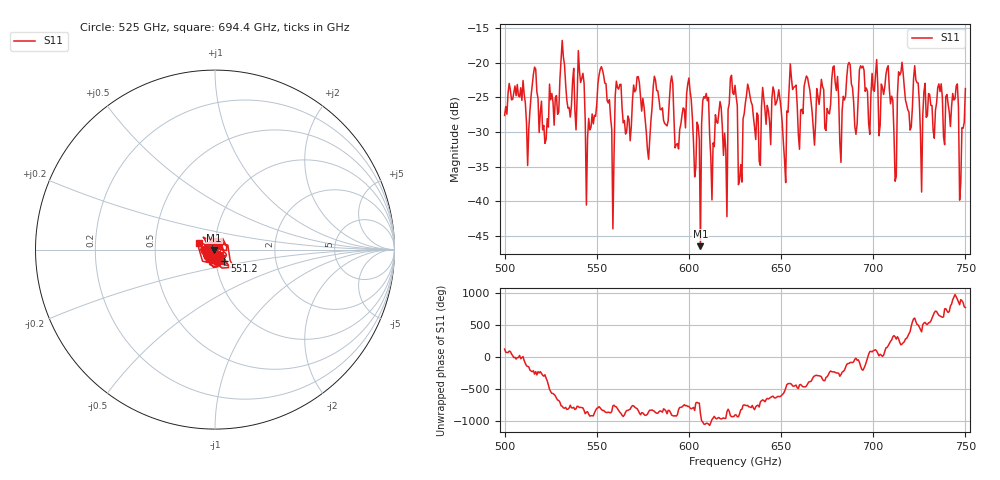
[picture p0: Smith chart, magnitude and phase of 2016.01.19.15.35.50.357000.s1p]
!Created with skrf (http://scikit-rf.org).
# GHz S RI R 50.0
!freq ReS11 ImS11
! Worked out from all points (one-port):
!   401 points, 500 GHz to 750 GHz, reference 50 ohm
!   lowest |S11| = -46.5 dB at 606.2 GHz (marker M1), VSWR 1.01, Z = 49.6 - j0.174 ohm
!   |S11| at or under -10 dB: start of sweep to end of sweep
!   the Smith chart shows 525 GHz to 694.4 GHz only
!   S11 on the Smith chart (normalised r, x): 525 GHz: 0.90, -0.01; 551.2 GHz: 1.10, -0.14; 694.4 GHz: 0.84, +0.06
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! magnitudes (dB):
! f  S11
! 500 GHz  -27.6
! 525 GHz  -25.4
! 531.2 GHz  -16.8
! 541.2 GHz  -22.9
! 545.6 GHz  -28.0
! 551.2 GHz  -21.8
! 558.1 GHz  -29.6
! 562.5 GHz  -23.1
! 578.1 GHz  -33.9
! 590.6 GHz  -21.9
! 593.8 GHz  -31.7
! 600 GHz  -22.2
! 606.2 GHz  -46.5
! 609.4 GHz  -24.4
! 619.4 GHz  -30.2
! 625 GHz  -23.3
! 628.1 GHz  -34.7
! 631.9 GHz  -23.1
! 651.9 GHz  -34.0
! 656.2 GHz  -23.9
! 683.1 GHz  -26.9
! 687.5 GHz  -20.3
! 690.6 GHz  -30.3
! 694.4 GHz  -20.5
! 718.8 GHz  -26.8
! 744.4 GHz  -25.2
! 748.1 GHz  -29.4
! 750 GHz  -23.8
